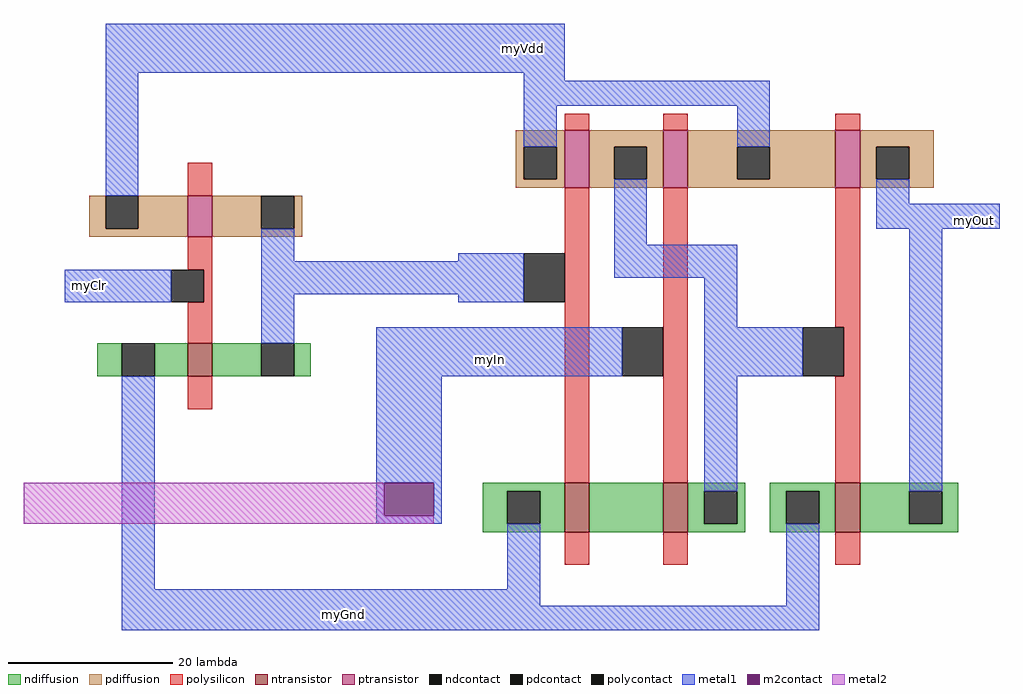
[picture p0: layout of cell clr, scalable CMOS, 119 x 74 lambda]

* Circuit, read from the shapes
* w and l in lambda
.subckt clr myClr myGnd myIn myOut myVdd
M1 n1 myClr myGnd VSUBS nfet w=4 l=3
M2 n2 n1 myGnd VSUBS nfet w=6 l=3
M3 n3 myIn n2 VSUBS nfet w=6 l=3
M4 myOut n3 myGnd VSUBS nfet w=6 l=3
M5 n1 myClr myVdd NWELL pfet w=5 l=3
M6 n3 n1 myVdd NWELL pfet w=7 l=3
M7 myVdd myIn n3 NWELL pfet w=7 l=3
M8 myOut n3 myVdd NWELL pfet w=7 l=3
.ends

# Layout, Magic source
magic
tech scmos
<< polysilicon >>
rect 30 57 33 59
rect 42 57 45 59
rect 63 57 66 59
rect -16 49 -13 53
rect -16 40 -13 44
rect -14 36 -13 40
rect -16 31 -13 36
rect -16 23 -13 27
rect 30 14 33 50
rect 42 14 45 50
rect 63 33 66 50
rect 64 27 66 33
rect 63 14 66 27
rect 30 4 33 8
rect 42 4 45 8
rect 63 4 66 8
<< ndiffusion >>
rect -27 27 -24 31
rect -20 27 -16 31
rect -13 27 -7 31
rect -3 27 -1 31
rect 20 13 30 14
rect 20 9 23 13
rect 27 9 30 13
rect 20 8 30 9
rect 33 8 42 14
rect 45 13 52 14
rect 45 9 47 13
rect 51 9 52 13
rect 45 8 52 9
rect 55 13 63 14
rect 55 9 57 13
rect 61 9 63 13
rect 55 8 63 9
rect 66 13 78 14
rect 66 9 72 13
rect 76 9 78 13
rect 66 8 78 9
<< pdiffusion >>
rect 24 55 30 57
rect 24 51 25 55
rect 29 51 30 55
rect 24 50 30 51
rect 33 55 42 57
rect 33 51 36 55
rect 40 51 42 55
rect 33 50 42 51
rect 45 55 63 57
rect 45 51 51 55
rect 55 51 63 55
rect 45 50 63 51
rect 66 55 75 57
rect 66 51 68 55
rect 72 51 75 55
rect 66 50 75 51
rect -28 45 -26 49
rect -22 45 -16 49
rect -28 44 -16 45
rect -13 45 -7 49
rect -3 45 -2 49
rect -13 44 -2 45
<< metal1 >>
rect -26 64 30 70
rect -26 49 -22 64
rect 25 63 30 64
rect 25 60 55 63
rect 25 55 29 60
rect 51 55 55 60
rect -7 41 -3 45
rect 36 43 40 51
rect 68 48 72 51
rect 68 45 83 48
rect 17 41 25 42
rect -31 36 -18 40
rect -7 37 25 41
rect -7 31 -3 37
rect 17 36 25 37
rect 36 39 51 43
rect 47 33 51 39
rect 7 27 37 33
rect 47 27 59 33
rect -24 1 -20 27
rect 7 14 15 27
rect 7 10 8 14
rect 14 10 15 14
rect 47 13 51 27
rect 72 13 76 45
rect 7 9 15 10
rect 23 1 27 9
rect -24 -1 27 1
rect 57 -1 61 9
rect -24 -4 61 -1
<< metal2 >>
rect -36 10 8 14
rect -36 9 14 10
<< ntransistor >>
rect -16 27 -13 31
rect 30 8 33 14
rect 42 8 45 14
rect 63 8 66 14
<< ptransistor >>
rect 30 50 33 57
rect 42 50 45 57
rect 63 50 66 57
rect -16 44 -13 49
<< polycontact >>
rect -18 36 -14 40
rect 25 36 30 42
rect 37 27 42 33
rect 59 27 64 33
<< ndcontact >>
rect -24 27 -20 31
rect -7 27 -3 31
rect 23 9 27 13
rect 47 9 51 13
rect 57 9 61 13
rect 72 9 76 13
<< pdcontact >>
rect 25 51 29 55
rect 36 51 40 55
rect 51 51 55 55
rect 68 51 72 55
rect -26 45 -22 49
rect -7 45 -3 49
<< m2contact >>
rect 8 10 14 14
<< labels >>
rlabel metal1 25 67 25 67 5 myVdd
rlabel metal1 3 -2 3 -2 1 myGnd
rlabel metal1 80 46 80 46 7 myOut
rlabel metal1 -28 38 -28 38 3 myClr
rlabel metal1 21 29 21 29 1 myIn
<< end >>
